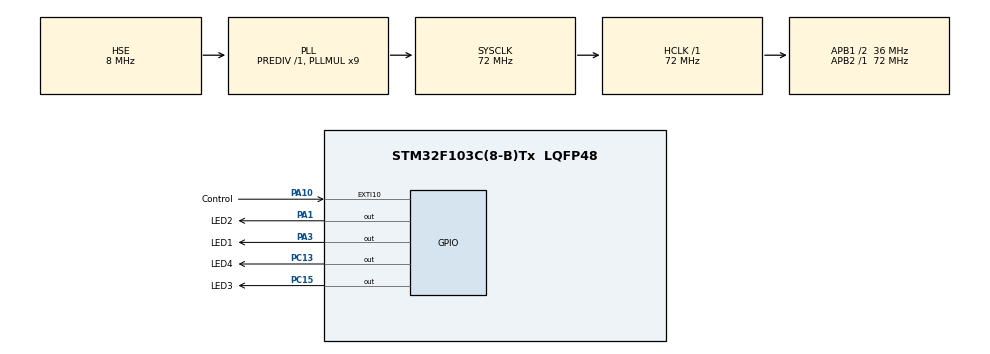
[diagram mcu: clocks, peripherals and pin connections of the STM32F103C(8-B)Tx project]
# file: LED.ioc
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Mcu.Family=STM32F1
Mcu.Name=STM32F103C(8-B)Tx
Mcu.Package=LQFP48
NVIC.EXTI15_10_IRQn=true\:1\:0\:true\:false\:true\:true\:true\:true
NVIC.PriorityGroup=NVIC_PRIORITYGROUP_4
PA1.GPIO_Label=LED2
PA1.Signal=GPIO_Output
PA10.GPIO_Label=Control
PA10.GPIO_PuPd=GPIO_PULLDOWN
PA10.Signal=GPXTI10
PA13.Mode=Serial_Wire
PA13.Signal=SYS_JTMS-SWDIO
PA14.Mode=Serial_Wire
PA14.Signal=SYS_JTCK-SWCLK
PA3.GPIO_Label=LED1
PA3.Signal=GPIO_Output
PC13-TAMPER-RTC.GPIO_Label=LED4
PC13-TAMPER-RTC.Signal=GPIO_Output
PC15-OSC32_OUT.GPIO_Label=LED3
PC15-OSC32_OUT.Signal=GPIO_Output
PD0-OSC_IN.Mode=HSE-External-Oscillator
PD0-OSC_IN.Signal=RCC_OSC_IN
PD1-OSC_OUT.Mode=HSE-External-Oscillator
PD1-OSC_OUT.Signal=RCC_OSC_OUT
ProjectManager.HeapSize=0x200
ProjectManager.StackSize=0x400
ProjectManager.TargetToolchain=CMake
RCC.AHBFreq_Value=72000000
RCC.APB1CLKDivider=RCC_HCLK_DIV2
RCC.APB1Freq_Value=36000000
RCC.APB1TimFreq_Value=72000000
RCC.APB2Freq_Value=72000000
RCC.APB2TimFreq_Value=72000000
RCC.HCLKFreq_Value=72000000
RCC.PLLMUL=RCC_PLL_MUL9
RCC.PLLSourceVirtual=RCC_PLLSOURCE_HSE
RCC.SYSCLKFreq_VALUE=72000000
RCC.SYSCLKSource=RCC_SYSCLKSOURCE_PLLCLK
RCC.USBFreq_Value=72000000
board=custom

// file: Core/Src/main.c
/* USER CODE BEGIN Header */
/**
  ******************************************************************************
  * @file           : main.c
  * @brief          : Main program body
  ******************************************************************************
  * @attention
  *
  * Copyright (c) 2026 STMicroelectronics.
  * All rights reserved.
  *
  * This software is licensed under terms that can be found in the LICENSE file
  * in the root directory of this software component.
  * If no LICENSE file comes with this software, it is provided AS-IS.
  *
  ******************************************************************************
  */
/* USER CODE END Header */
#include "main.h"
#include "gpio.h"

/* USER CODE BEGIN PTD */

typedef struct {
  GPIO_TypeDef *Port;
  uint16_t Pin;
}LED_TypeDef;

/* USER CODE END PTD */

/* USER CODE BEGIN PD */

#define clk 0
#define anticlk 1

/* USER CODE END PD */

/* USER CODE BEGIN PV */

LED_TypeDef led[4]={
  {LED1_GPIO_Port, LED1_Pin},
  {LED2_GPIO_Port, LED2_Pin},
  {LED3_GPIO_Port, LED3_Pin},
  {LED4_GPIO_Port, LED4_Pin}
};

volatile uint8_t LED_State=clk;
volatile uint32_t tick=0;

/* USER CODE END PV */

void SystemClock_Config(void);

int main(void)
{

  /* MCU Configuration--------------------------------------------------------*/

  /* Reset of all peripherals, Initializes the Flash interface and the Systick. */
  HAL_Init();

  /* Configure the system clock */
  SystemClock_Config();

  /* Initialize all configured peripherals */
  MX_GPIO_Init();

  /* Infinite loop */
  while (1)
  {

    /* USER CODE BEGIN 3 */
    int8_t i=0;
    if(LED_State==clk) {
      for (i=0;i<4;i++) {
        HAL_GPIO_WritePin(led[i].Port, led[i].Pin, GPIO_PIN_SET);
        HAL_Delay(100);
        HAL_GPIO_WritePin(led[i].Port, led[i].Pin, GPIO_PIN_RESET);
      }
    }
    if(LED_State==anticlk) {
      for (i=3;i>=0;i--) {
        HAL_GPIO_WritePin(led[i].Port, led[i].Pin, GPIO_PIN_SET);
        HAL_Delay(100);
        HAL_GPIO_WritePin(led[i].Port, led[i].Pin, GPIO_PIN_RESET);
      }
    }
  }
  /* USER CODE END 3 */
}

void SystemClock_Config(void)
{
  RCC_OscInitTypeDef RCC_OscInitStruct = {0};
  RCC_ClkInitTypeDef RCC_ClkInitStruct = {0};

  /** Initializes the RCC Oscillators according to the specified parameters
  * in the RCC_OscInitTypeDef structure.
  */
  RCC_OscInitStruct.OscillatorType = RCC_OSCILLATORTYPE_HSE;
  RCC_OscInitStruct.HSEState = RCC_HSE_ON;
  RCC_OscInitStruct.HSEPredivValue = RCC_HSE_PREDIV_DIV1;
  RCC_OscInitStruct.HSIState = RCC_HSI_ON;
  RCC_OscInitStruct.PLL.PLLState = RCC_PLL_ON;
  RCC_OscInitStruct.PLL.PLLSource = RCC_PLLSOURCE_HSE;
  RCC_OscInitStruct.PLL.PLLMUL = RCC_PLL_MUL9;
  if (HAL_RCC_OscConfig(&RCC_OscInitStruct) != HAL_OK)
  {
    Error_Handler();
  }

  /** Initializes the CPU, AHB and APB buses clocks
  */
  RCC_ClkInitStruct.ClockType = RCC_CLOCKTYPE_HCLK|RCC_CLOCKTYPE_SYSCLK
                              |RCC_CLOCKTYPE_PCLK1|RCC_CLOCKTYPE_PCLK2;
  RCC_ClkInitStruct.SYSCLKSource = RCC_SYSCLKSOURCE_PLLCLK;
  RCC_ClkInitStruct.AHBCLKDivider = RCC_SYSCLK_DIV1;
  RCC_ClkInitStruct.APB1CLKDivider = RCC_HCLK_DIV2;
  RCC_ClkInitStruct.APB2CLKDivider = RCC_HCLK_DIV1;

  if (HAL_RCC_ClockConfig(&RCC_ClkInitStruct, FLASH_LATENCY_2) != HAL_OK)
  {
    Error_Handler();
  }
}

/* USER CODE BEGIN 4 */

void HAL_GPIO_EXTI_Callback(uint16_t GPIO_Pin) {
  if (GPIO_Pin == Control_Pin) {
    if (HAL_GetTick() - tick > 50) {
      for (volatile int i=0;i<50000;i++) {;}
      if (HAL_GPIO_ReadPin(Control_GPIO_Port, Control_Pin) == GPIO_PIN_SET) {
        if (LED_State == clk) {
          LED_State = anticlk;
        } else {
          LED_State = clk;
        }
      }
    }
  }
}

/* USER CODE END 4 */

void Error_Handler(void)
{
  __disable_irq();
  while (1)
  {
  }
}
